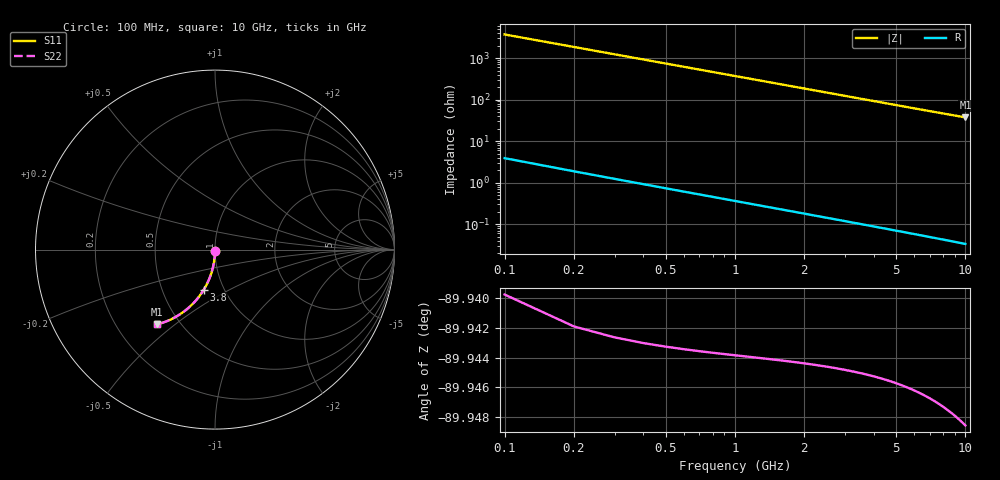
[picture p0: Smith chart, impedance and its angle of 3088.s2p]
# Hz S RI R 50.00
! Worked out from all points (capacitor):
!   100 points, 100 MHz to 10 GHz, reference 50 ohm
!   read as one part in shunt: C = 431 fF near 100 MHz
!   lowest |Z| = 37.2 ohm at 10 GHz (marker M1)
!   S11 on the Smith chart (normalised r, x): 100 MHz: 1.00, -0.01; 3.8 GHz: 0.80, -0.38; 10 GHz: 0.37, -0.43
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1e8  6.05e-05 -0.00627  0.9998 -0.00727  0.9998 -0.00727  6.05e-05 -0.00627
2e8  -8.2e-05 -0.0125  0.9997 -0.0145  0.9997 -0.0145  -8.2e-05 -0.0125
3e8  -0.000316 -0.0188  0.9995 -0.0218  0.9995 -0.0218  -0.000316 -0.0188
4e8  -0.000641 -0.0251  0.9991 -0.0291  0.9991 -0.0291  -0.000641 -0.0251
5e8  -0.00106 -0.0313  0.9987 -0.0363  0.9987 -0.0363  -0.00106 -0.0313
6e8  -0.00156 -0.0376  0.9982 -0.0436  0.9982 -0.0436  -0.00156 -0.0376
7e8  -0.00216 -0.0438  0.9976 -0.0508  0.9976 -0.0508  -0.00216 -0.0438
8e8  -0.00285 -0.05  0.9969 -0.058  0.9969 -0.058  -0.00285 -0.05
9e8  -0.00363 -0.0562  0.9961 -0.0652  0.9961 -0.0652  -0.00363 -0.0562
1.1e9  -0.00545 -0.0686  0.9943 -0.0796  0.9943 -0.0796  -0.00545 -0.0686
1.4e9  -0.00885 -0.0871  0.9908 -0.1011  0.9908 -0.1011  -0.00885 -0.0871
1.8e9  -0.0146 -0.1113  0.985 -0.1293  0.985 -0.1293  -0.0146 -0.1113
2.1e9  -0.0198 -0.1292  0.9797 -0.1502  0.9797 -0.1502  -0.0198 -0.1292
2.5e9  -0.0279 -0.1526  0.9715 -0.1776  0.9715 -0.1776  -0.0279 -0.1526
2.9e9  -0.0373 -0.1753  0.962 -0.2044  0.962 -0.2044  -0.0373 -0.1753
3.4e9  -0.0507 -0.2026  0.9485 -0.2368  0.9485 -0.2368  -0.0507 -0.2026
3.8e9  -0.0626 -0.2236  0.9364 -0.2618  0.9364 -0.2618  -0.0626 -0.2236
4.4e9  -0.0825 -0.2533  0.9163 -0.2977  0.9163 -0.2977  -0.0825 -0.2533
5.1e9  -0.1081 -0.2852  0.8903 -0.3368  0.8903 -0.3368  -0.1081 -0.2852
6.7e9  -0.1743 -0.3459  0.8232 -0.414  0.8232 -0.414  -0.1743 -0.3459
8.4e9  -0.2509 -0.3912  0.7451 -0.4771  0.7451 -0.4771  -0.2509 -0.3912
1e10  -0.3238 -0.4169  0.6706 -0.52  0.6706 -0.52  -0.3238 -0.4169
